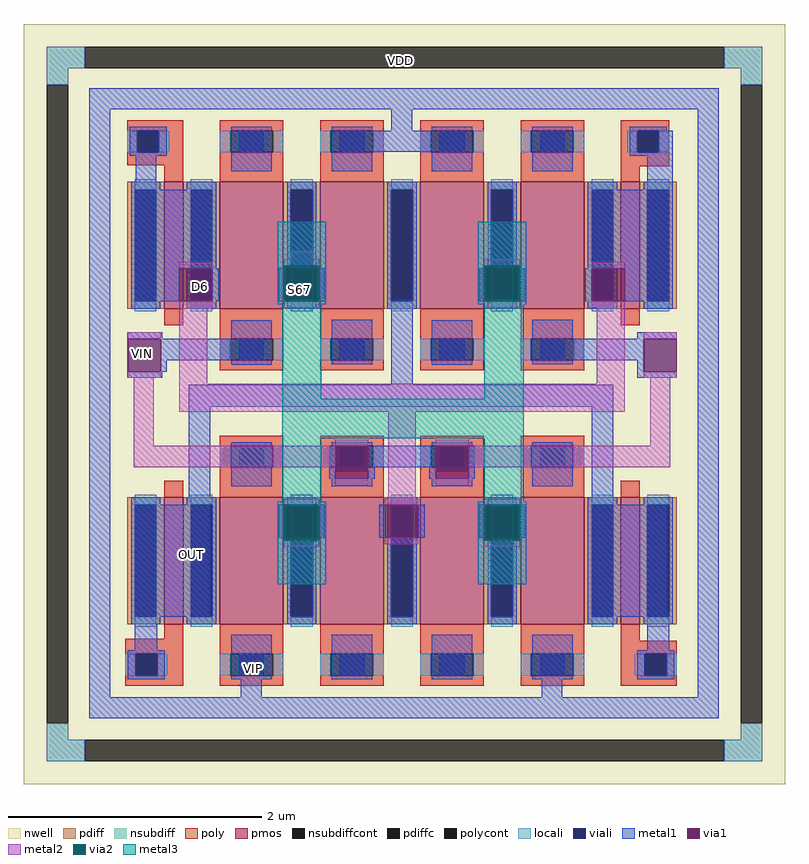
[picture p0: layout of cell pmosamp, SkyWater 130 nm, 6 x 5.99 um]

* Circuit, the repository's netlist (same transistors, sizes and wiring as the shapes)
** sch_path: /home/surya/opamp/mag/pmosamp.sch
.subckt pmosamp S67 vip vin VDD OUT D6
*.PININFO vip:I vin:I D6:B OUT:B VDD:B S67:B
XM6 D6 vin S67 VDD sky130_fd_pr__pfet_01v8 L=0.5 W=1 nf=1 m=4
XM7 OUT vip S67 VDD sky130_fd_pr__pfet_01v8 L=0.5 W=1 nf=1 m=4
XM1 D6 D6 D6 VDD sky130_fd_pr__pfet_01v8 L=0.15 W=1 nf=1 m=2
XM2 OUT OUT OUT VDD sky130_fd_pr__pfet_01v8 L=0.15 W=1 nf=1 m=2
.ends
.end

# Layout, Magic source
magic
tech sky130A
magscale 1 2
<< nwell >>
rect -203 -633 997 565
<< nsubdiff >>
rect -167 495 -107 529
rect 901 495 961 529
rect -167 469 -133 495
rect 927 469 961 495
rect -167 -563 -133 -537
rect 927 -563 961 -537
rect -167 -597 -107 -563
rect 901 -597 961 -563
<< nsubdiffcont >>
rect -107 495 901 529
rect -167 -537 -133 469
rect 927 -537 961 469
rect -107 -597 901 -563
<< poly >>
rect -40 397 48 413
rect -40 363 -24 397
rect 10 363 48 397
rect -40 342 48 363
rect 738 397 814 413
rect 738 363 764 397
rect 798 363 814 397
rect 738 341 814 363
rect -43 -428 48 -404
rect -43 -462 -27 -428
rect 7 -462 48 -428
rect -43 -478 48 -462
rect 738 -428 826 -407
rect 738 -462 776 -428
rect 810 -462 826 -428
rect 738 -478 826 -462
<< polycont >>
rect -24 363 10 397
rect 764 363 798 397
rect -27 -462 7 -428
rect 776 -462 810 -428
<< locali >>
rect -167 495 -107 529
rect 901 495 961 529
rect -167 469 -133 495
rect 927 469 961 495
rect -40 363 -24 397
rect 10 363 26 397
rect 748 363 764 397
rect 798 363 814 397
rect -43 -462 -27 -428
rect 7 -462 23 -428
rect 760 -462 776 -428
rect 810 -462 826 -428
rect -167 -563 -133 -537
rect 927 -563 961 -537
rect -167 -597 -107 -563
rect 901 -597 961 -563
<< viali >>
rect -24 363 10 397
rect 764 363 798 397
rect -27 -462 7 -428
rect 776 -462 810 -428
<< metal1 >>
rect -100 431 892 464
rect -100 -496 -67 431
rect -36 397 22 403
rect -36 363 -24 397
rect 10 363 22 397
rect -36 357 22 363
rect -27 307 6 357
rect 124 333 188 403
rect 282 397 346 403
rect 376 397 409 431
rect 440 397 504 403
rect 282 364 504 397
rect 282 333 346 364
rect 440 333 504 364
rect 598 333 662 403
rect 752 397 810 403
rect 752 363 764 397
rect 798 363 820 397
rect 752 357 820 363
rect 780 304 820 357
rect -28 180 94 304
rect 692 292 820 304
rect 692 180 814 292
rect -28 128 42 180
rect 94 128 104 180
rect 199 128 209 180
rect 261 128 271 180
rect -39 69 15 79
rect 124 69 188 98
rect 13 35 188 69
rect 13 17 22 35
rect 124 28 188 35
rect 282 29 346 99
rect -39 7 15 17
rect 376 -4 410 131
rect 515 128 525 180
rect 577 128 587 180
rect 682 128 692 180
rect 744 128 814 180
rect 440 28 504 98
rect 598 69 662 99
rect 764 69 826 79
rect 598 35 774 69
rect 598 29 662 35
rect 764 17 774 35
rect 764 7 826 17
rect 57 -38 726 -4
rect 57 -193 91 -38
rect 124 -164 188 -94
rect 282 -100 346 -94
rect 440 -100 504 -94
rect 278 -152 288 -100
rect 340 -134 446 -100
rect 340 -152 350 -134
rect 436 -152 446 -134
rect 498 -152 508 -100
rect 282 -164 346 -152
rect 440 -164 504 -152
rect 598 -164 662 -94
rect 692 -193 726 -38
rect -31 -369 91 -193
rect 199 -245 209 -193
rect 261 -245 271 -193
rect 357 -245 367 -193
rect 419 -245 429 -193
rect 515 -245 525 -193
rect 577 -245 587 -193
rect 689 -220 811 -193
rect 690 -225 811 -220
rect 689 -364 811 -225
rect 689 -369 814 -364
rect -28 -422 7 -369
rect -39 -428 19 -422
rect -39 -462 -27 -428
rect 7 -462 19 -428
rect -39 -468 19 -462
rect 124 -468 188 -398
rect 282 -468 346 -398
rect 440 -468 504 -398
rect 598 -468 662 -398
rect 780 -422 814 -369
rect 764 -428 822 -422
rect 764 -462 776 -428
rect 810 -462 822 -428
rect 764 -468 822 -462
rect 139 -496 172 -468
rect 613 -496 646 -468
rect 859 -496 892 431
rect -100 -529 892 -496
<< via1 >>
rect 42 128 94 180
rect 209 128 261 180
rect -39 17 13 69
rect 525 128 577 180
rect 692 128 744 180
rect 774 17 826 69
rect 288 -152 340 -100
rect 446 -152 498 -100
rect 209 -245 261 -193
rect 367 -245 419 -193
rect 525 -245 577 -193
<< metal2 >>
rect 218 194 252 207
rect 42 180 94 190
rect 42 116 94 128
rect 207 184 263 194
rect 207 118 263 128
rect 523 184 579 194
rect 523 118 579 128
rect 692 180 744 190
rect 692 118 744 128
rect -40 69 13 79
rect -40 17 -39 69
rect -40 7 13 17
rect -30 -100 2 7
rect 42 -2 86 116
rect 700 -2 744 118
rect 774 69 826 79
rect 774 7 826 17
rect 42 -46 744 -2
rect 288 -100 340 -90
rect -30 -134 288 -100
rect 288 -162 340 -152
rect 371 -183 415 -46
rect 446 -100 498 -90
rect 784 -100 816 7
rect 498 -134 816 -100
rect 446 -162 498 -152
rect 207 -193 263 -183
rect 207 -259 263 -249
rect 367 -193 419 -183
rect 367 -255 419 -245
rect 523 -193 579 -183
rect 523 -259 579 -249
<< via2 >>
rect 207 180 263 184
rect 207 128 209 180
rect 209 128 261 180
rect 261 128 263 180
rect 523 180 579 184
rect 523 128 525 180
rect 525 128 577 180
rect 577 128 579 180
rect 207 -245 209 -193
rect 209 -245 261 -193
rect 261 -245 263 -193
rect 207 -249 263 -245
rect 523 -245 525 -193
rect 525 -245 577 -193
rect 577 -245 579 -193
rect 523 -249 579 -245
<< metal3 >>
rect 197 184 273 253
rect 197 128 207 184
rect 263 128 273 184
rect 197 123 273 128
rect 513 184 589 253
rect 513 128 523 184
rect 579 128 589 184
rect 513 123 589 128
rect 204 -26 266 123
rect 523 -26 585 123
rect 204 -88 585 -26
rect 204 -188 266 -88
rect 523 -188 585 -88
rect 197 -193 273 -188
rect 197 -249 207 -193
rect 263 -249 273 -193
rect 197 -318 273 -249
rect 513 -193 589 -188
rect 513 -249 523 -193
rect 579 -249 589 -193
rect 513 -318 589 -249
use sky130_fd_pr__pfet_01v8_2XUZHN  sky130_fd_pr__pfet_01v8_2XUZHN_0
transform 1 0 753 0 1 -281
box -109 -162 109 162
use sky130_fd_pr__pfet_01v8_2XUZHN  sky130_fd_pr__pfet_01v8_2XUZHN_1
transform 1 0 753 0 1 216
box -109 -162 109 162
use sky130_fd_pr__pfet_01v8_2XUZHN  sky130_fd_pr__pfet_01v8_2XUZHN_2
transform 1 0 33 0 1 216
box -109 -162 109 162
use sky130_fd_pr__pfet_01v8_2XUZHN  sky130_fd_pr__pfet_01v8_2XUZHN_3
transform 1 0 33 0 1 -281
box -109 -162 109 162
use sky130_fd_pr__pfet_01v8_V8EW6L  sky130_fd_pr__pfet_01v8_V8EW6L_0
transform 1 0 393 0 1 216
box -381 -200 381 200
use sky130_fd_pr__pfet_01v8_V8EW6L  sky130_fd_pr__pfet_01v8_V8EW6L_1
transform 1 0 393 0 1 -281
box -381 -200 381 200
<< labels >>
flabel nsubdiffcont 391 507 391 507 0 FreeSans 480 0 0 0 VDD
port 0 nsew
flabel via1 75 151 75 151 0 FreeSans 480 0 0 0 D6
port 1 nsew
flabel via2 232 147 232 147 0 FreeSans 480 0 0 0 S67
port 2 nsew
flabel via1 -16 46 -16 46 0 FreeSans 480 0 0 0 VIN
port 3 nsew
flabel metal1 61 -272 61 -272 0 FreeSans 480 0 0 0 OUT
port 4 nsew
flabel metal1 159 -451 159 -451 0 FreeSans 480 0 0 0 VIP
port 5 nsew
<< end >>

# cell sky130_fd_pr__pfet_01v8_2XUZHN: kit device sky130_fd_pr__pfet_01v8, w 1 l 0.15 m 1 nf 1 diffcov 100 polycov 100 guard 0 glc 1 grc 1 gtc 1 gbc 1 tbcov 100 rlcov 100 topc 0 botc 0 poverlap 0 doverlap 1 lmin 0.15 wmin 0.42 compatible {sky130_fd_pr__pfet_01v8 sky130_fd_pr__pfet_01v8_lvt sky130_fd_pr__pfet_01v8_hvt sky130_fd_pr__pfet_g5v0d10v5} full_metal 1 viasrc 100 viadrn 100 viagate 100 viagb 0 viagr 0 viagl 0 viagt 0

# cell sky130_fd_pr__pfet_01v8_V8EW6L: kit device sky130_fd_pr__pfet_01v8, w 1 l 0.5 m 1 nf 4 diffcov 100 polycov 100 guard 0 glc 1 grc 1 gtc 1 gbc 1 tbcov 100 rlcov 100 topc 1 botc 1 poverlap 0 doverlap 1 lmin 0.15 wmin 0.42 compatible {sky130_fd_pr__pfet_01v8 sky130_fd_pr__pfet_01v8_lvt sky130_fd_pr__pfet_01v8_hvt sky130_fd_pr__pfet_g5v0d10v5} full_metal 1 viasrc 100 viadrn 100 viagate 60 viagb 0 viagr 0 viagl 0 viagt 0
